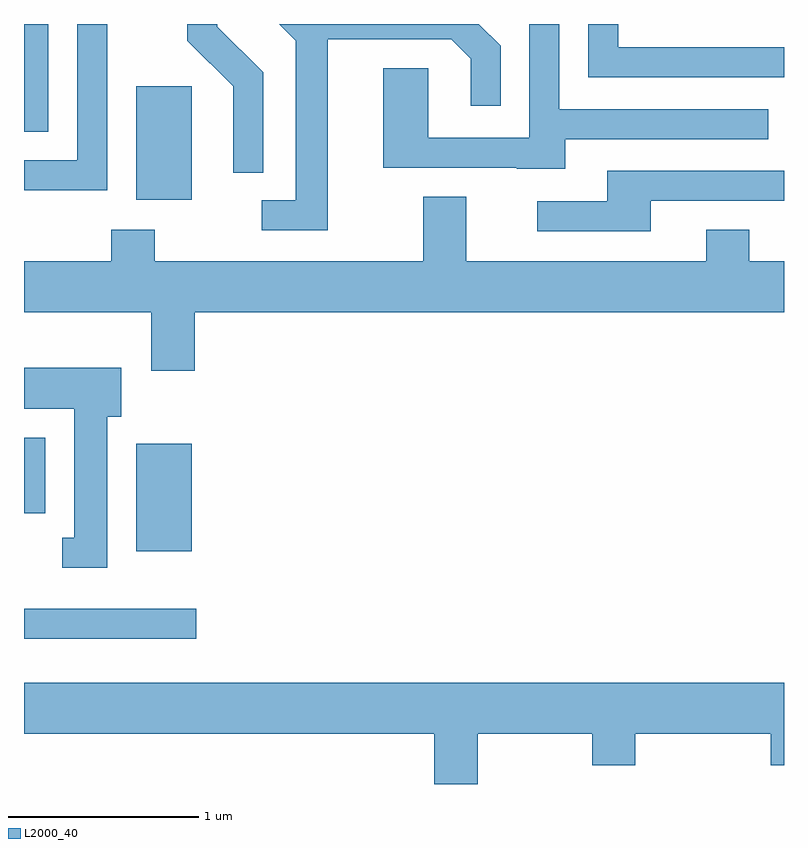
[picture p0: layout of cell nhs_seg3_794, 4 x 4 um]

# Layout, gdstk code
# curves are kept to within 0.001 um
import gdstk
lib = gdstk.Library(unit=1e-6, precision=1e-09)
def R(c, l, rs):  # rectangles x0, y0, x1, y1
    for r in rs: c.add(gdstk.rectangle(r[:2], r[2:], *l))
def P(c, l, *ps):  # polygons
    for p in ps: c.add(gdstk.Polygon(p, *l))
L2000_40 = (2000, 40)

nhs_seg3_794 = lib.new_cell('nhs_seg3_794')
R(nhs_seg3_794, L2000_40, [(207.611,1208.656,208.518,1208.814), (208.201,1209.116,208.494,1209.684), (207.611,1209.316,207.724,1209.714), (208.201,1210.966,208.494,1211.564), (207.611,1211.326,207.739,1211.892)])
P(nhs_seg3_794, L2000_40, [(209.209,1211.811),(209.859,1211.811),(209.961,1211.709),(209.961,1211.463),(210.119,1211.463),(210.119,1211.777),(210.004,1211.892),(208.833,1211.892),(208.954,1211.891),(209.041,1211.804),(209.041,1210.964),(208.863,1210.964),(208.863,1210.806),(209.209,1210.806)],
  [(208.049,1211.892),(207.891,1211.892),(207.891,1211.174),(207.611,1211.174),(207.611,1211.016),(208.049,1211.016)],
  [(208.869,1211.637),(208.629,1211.877),(208.629,1211.892),(208.471,1211.892),(208.471,1211.804),(208.711,1211.564),(208.711,1211.108),(208.869,1211.108)],
  [(211.611,1211.769),(210.739,1211.769),(210.739,1211.892),(210.581,1211.892),(210.581,1211.611),(211.611,1211.611)],
  [(210.459,1211.286),(211.528,1211.286),(211.528,1211.444),(210.429,1211.444),(210.429,1211.892),(210.271,1211.892),(210.271,1211.294),(209.739,1211.294),(209.739,1211.659),(209.501,1211.659),(209.501,1211.136),(210.205,1211.136),(210.205,1211.131),(210.459,1211.131)],
  [(210.909,1210.961),(211.611,1210.961),(211.611,1211.119),(210.681,1211.119),(210.681,1210.959),(210.313,1210.959),(210.313,1210.801),(210.909,1210.801)],
  [(208.509,1210.376),(211.611,1210.376),(211.611,1210.644),(211.429,1210.644),(211.429,1210.809),(211.201,1210.809),(211.201,1210.644),(209.939,1210.644),(209.939,1210.984),(209.711,1210.984),(209.711,1210.644),(208.299,1210.644),(208.299,1210.809),(208.071,1210.809),(208.071,1210.644),(207.611,1210.644),(207.611,1210.376),(208.281,1210.376),(208.281,1210.066),(208.509,1210.066)],
  [(208.049,1209.826),(208.124,1209.826),(208.124,1210.084),(207.611,1210.084),(207.611,1209.866),(207.876,1209.866),(207.876,1209.189),(207.813,1209.189),(207.813,1209.031),(208.049,1209.031)],
  [(209.999,1208.156),(210.601,1208.156),(210.601,1207.991),(210.829,1207.991),(210.829,1208.156),(211.541,1208.156),(211.541,1207.991),(211.611,1207.991),(211.611,1208.424),(207.611,1208.424),(207.611,1208.156),(209.771,1208.156),(209.771,1207.892),(209.999,1207.892)])

lib.write_gds('nhs_seg3_794.gds')
